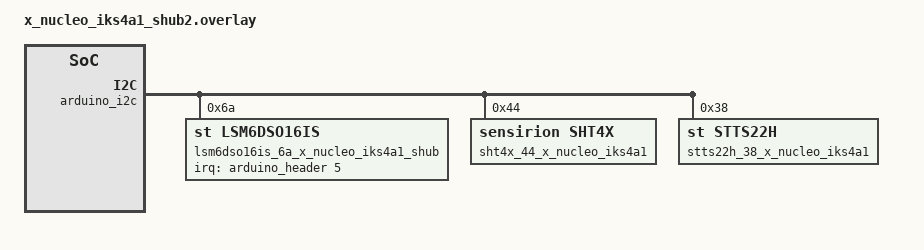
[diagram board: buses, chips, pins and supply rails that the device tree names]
/*
 * Copyright (c) 2024 STMicroelectronics
 *
 * SPDX-License-Identifier: Apache-2.0
 */

/ {
	aliases {
		accel0 = &lsm6dso16is_6a_x_nucleo_iks4a1_shub;
		temphum0 = &sht4x_44_x_nucleo_iks4a1;
		temp0 = &stts22h_38_x_nucleo_iks4a1;
	};
};

&arduino_i2c {
	lsm6dso16is_6a_x_nucleo_iks4a1_shub: lsm6dso16is@6a {
		compatible = "st,lsm6dso16is";
		reg = <0x6a>;
		irq-gpios =  <&arduino_header 5 GPIO_ACTIVE_HIGH>; /* A5 */
		drdy-pin = <1>;
	};

	sht4x_44_x_nucleo_iks4a1: sht4x@44 {
		status = "okay";
		compatible = "sensirion,sht4x";
		reg = <0x44>;
		repeatability = <2>;
	};

	stts22h_38_x_nucleo_iks4a1: stts22h@38 {
		compatible = "st,stts22h";
		reg = <0x38>;
		sampling-rate = <STTS22H_100Hz>;
		status = "okay";
	};
};
